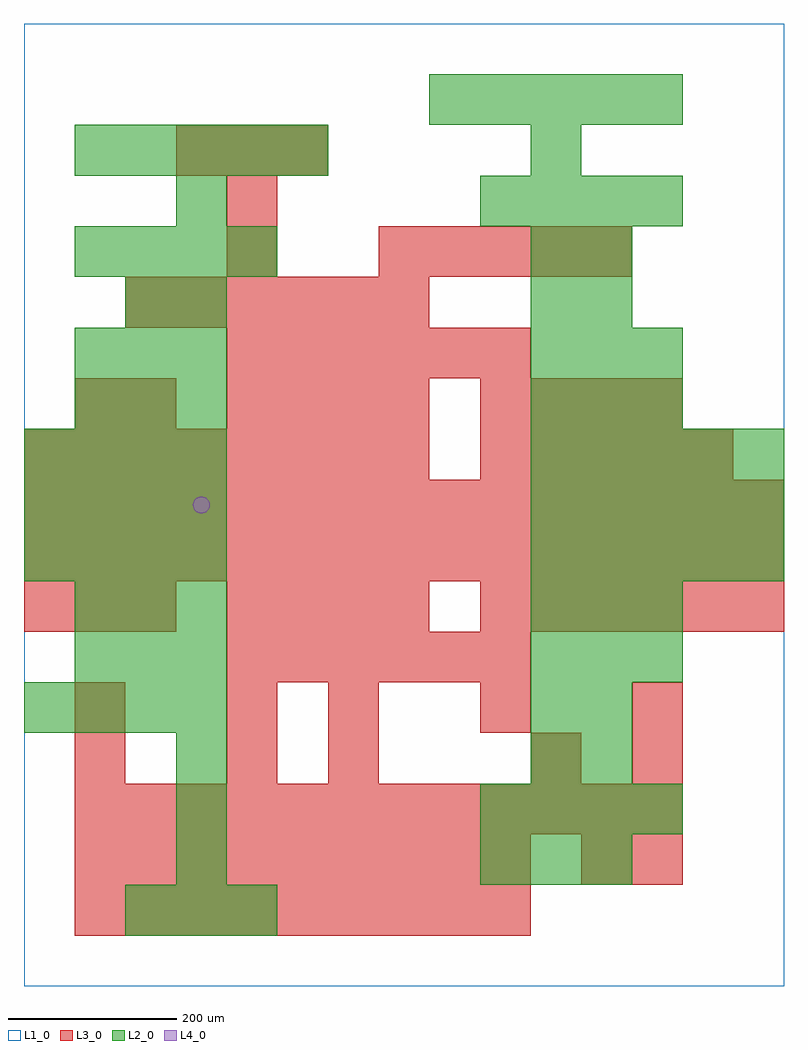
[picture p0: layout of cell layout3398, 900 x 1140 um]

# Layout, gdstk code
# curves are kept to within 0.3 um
import gdstk
lib = gdstk.Library(unit=1e-6, precision=1e-09)
def R(c, l, rs):  # rectangles x0, y0, x1, y1
    for r in rs: c.add(gdstk.rectangle(r[:2], r[2:], *l))
def A(c, l, x, y, w, h, nx, ny, dx, dy):  # array of equal rectangles
    R(c, l, [(x+i*dx, y+j*dy, x+i*dx+w, y+j*dy+h) for i in range(nx) for j in range(ny)])
def P(c, l, *ps):  # polygons
    for p in ps: c.add(gdstk.Polygon(p, *l))
L1_0 = (1, 0)
L2_0 = (2, 0)
L3_0 = (3, 0)
L4_0 = (4, 0)

layout3398 = lib.new_cell('layout3398')
R(layout3398, L1_0, [(0,0,900,1140)])
A(layout3398, L2_0, 120, 60, 60, 60, 3, 1, 60, 0)
A(layout3398, L2_0, 180, 120, 60, 60, 1, 3, 0, 60)
A(layout3398, L2_0, 540, 120, 60, 60, 3, 1, 60, 0)
A(layout3398, L2_0, 540, 180, 60, 60, 4, 2, 60, 720)
A(layout3398, L2_0, 0, 300, 60, 60, 4, 2, 60, 180)
A(layout3398, L2_0, 60, 360, 60, 60, 3, 2, 60, 60)
A(layout3398, L2_0, 600, 360, 60, 60, 3, 2, 60, 60)
A(layout3398, L2_0, 600, 480, 60, 60, 5, 3, 60, 60)
A(layout3398, L2_0, 0, 540, 60, 60, 4, 2, 60, 60)
A(layout3398, L2_0, 60, 660, 60, 60, 3, 2, 60, 60)
A(layout3398, L2_0, 600, 660, 60, 60, 3, 2, 60, 60)
A(layout3398, L2_0, 60, 840, 60, 60, 4, 1, 60, 0)
A(layout3398, L2_0, 60, 960, 60, 60, 5, 1, 60, 0)
A(layout3398, L2_0, 480, 1020, 60, 60, 5, 1, 60, 0)
R(layout3398, L2_0, [(600,240,660,300), (660,240,720,300), (600,300,660,360), (660,300,720,360), (120,780,180,840), (180,780,240,840), (600,780,660,840), (660,780,720,840), (600,840,660,900), (660,840,720,900), (180,900,240,960), (600,960,660,1020)])
A(layout3398, L3_0, 60, 60, 60, 60, 9, 2, 60, 60)
A(layout3398, L3_0, 60, 180, 60, 60, 12, 1, 60, 0)
A(layout3398, L3_0, 360, 300, 60, 60, 3, 1, 180, 0)
A(layout3398, L3_0, 240, 360, 60, 60, 6, 2, 60, 360)
A(layout3398, L3_0, 0, 420, 60, 60, 3, 1, 60, 0)
A(layout3398, L3_0, 240, 420, 60, 60, 4, 2, 60, 240)
A(layout3398, L3_0, 540, 420, 60, 60, 6, 1, 60, 0)
A(layout3398, L3_0, 0, 480, 60, 60, 15, 2, 60, 60)
A(layout3398, L3_0, 0, 600, 60, 60, 8, 1, 60, 0)
A(layout3398, L3_0, 540, 600, 60, 60, 5, 1, 60, 0)
A(layout3398, L3_0, 540, 660, 60, 60, 4, 1, 60, 0)
A(layout3398, L3_0, 120, 780, 60, 60, 6, 1, 60, 0)
A(layout3398, L3_0, 420, 840, 60, 60, 5, 1, 60, 0)
A(layout3398, L3_0, 180, 960, 60, 60, 3, 1, 60, 0)
R(layout3398, L3_0, [(660,120,720,180), (720,120,780,180), (60,240,120,300), (240,240,300,300), (360,240,420,300), (600,240,660,300), (720,240,780,300), (60,300,120,360), (240,300,300,360), (60,660,120,720), (120,660,180,720), (240,840,300,900), (240,900,300,960)])
P(layout3398, L4_0, [(220,570),(219.239,573.827),(217.071,577.071),(213.827,579.239),(210,580),(206.173,579.239),(202.929,577.071),(200.761,573.827),(200,570),(200.761,566.173),(202.929,562.929),(206.173,560.761),(210,560),(213.827,560.761),(217.071,562.929),(219.239,566.173)])

lib.write_gds('layout3398.gds')
